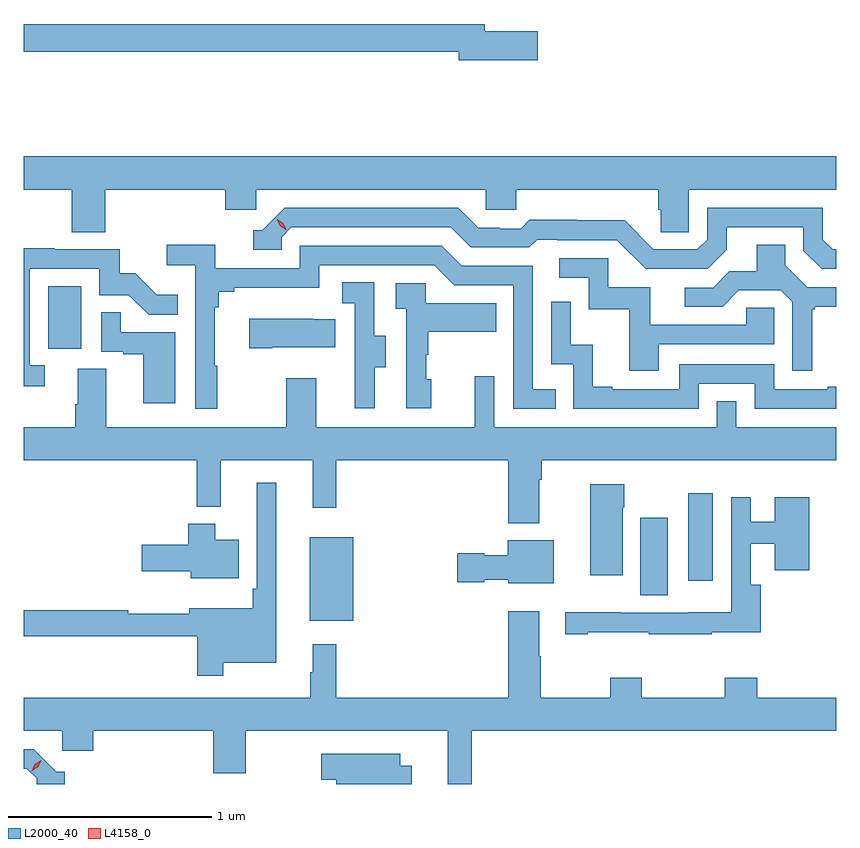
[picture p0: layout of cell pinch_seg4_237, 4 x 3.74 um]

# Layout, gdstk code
import gdstk
lib = gdstk.Library(unit=1e-6, precision=1e-09)
def R(c, l, rs):  # rectangles x0, y0, x1, y1
    for r in rs: c.add(gdstk.rectangle(r[:2], r[2:], *l))
def P(c, l, *ps):  # polygons
    for p in ps: c.add(gdstk.Polygon(p, *l))
L2000_40 = (2000, 40)
L4158_0 = (4158, 0)

pinch_seg4_237 = lib.new_cell('pinch_seg4_237')
R(pinch_seg4_237, L2000_40, [(912.527,826.667,912.742,827.077), (914.156,826.792,914.29,827.173), (914.39,826.863,914.512,827.293), (911.24,828.006,911.404,828.313)])
P(pinch_seg4_237, L2000_40, [(913.651,829.568),(913.39,829.568),(913.39,829.604),(911.12,829.604),(911.12,829.468),(913.262,829.468),(913.262,829.426),(913.651,829.426)],
  [(911.522,828.788),(912.113,828.788),(912.113,828.69),(912.264,828.69),(912.264,828.788),(913.395,828.788),(913.395,828.69),(913.545,828.69),(913.545,828.788),(914.243,828.788),(914.243,828.69),(914.257,828.69),(914.257,828.58),(914.394,828.58),(914.394,828.788),(915.12,828.788),(915.12,828.952),(911.12,828.952),(911.12,828.788),(911.357,828.788),(911.357,828.58),(911.522,828.58)],
  [(914.581,828.493),(914.581,828.603),(914.958,828.603),(914.958,828.489),(915.048,828.399),(915.12,828.399),(915.12,828.495),(915.102,828.495),(915.054,828.543),(915.054,828.699),(914.484,828.699),(914.484,828.543),(914.436,828.495),(914.22,828.495),(914.078,828.637),(913.842,828.637),(913.842,828.64),(913.609,828.64),(913.567,828.597),(913.464,828.597),(913.464,828.6),(913.357,828.6),(913.258,828.699),(912.405,828.699),(912.294,828.588),(912.251,828.588),(912.251,828.492),(912.39,828.492),(912.39,828.555),(912.438,828.603),(913.221,828.603),(913.32,828.504),(913.609,828.504),(913.648,828.543),(913.747,828.543),(913.747,828.54),(914.04,828.54),(914.181,828.399),(914.487,828.399)],
  [(912.073,827.921),(912.061,827.921),(912.061,828.209),(912.08,828.209),(912.08,828.286),(912.157,828.286),(912.157,828.305),(912.576,828.305),(912.576,828.417),(913.14,828.417),(913.239,828.318),(913.53,828.318),(913.53,827.709),(913.739,827.709),(913.739,827.805),(913.626,827.805),(913.626,828.414),(913.276,828.414),(913.177,828.513),(912.48,828.513),(912.48,828.402),(912.062,828.402),(912.062,828.518),(911.823,828.518),(911.823,828.416),(911.964,828.416),(911.964,827.709),(912.073,827.709)],
  [(915.001,828.201),(915.013,828.201),(915.013,828.212),(915.12,828.212),(915.12,828.309),(914.976,828.309),(914.869,828.416),(914.869,828.518),(914.729,828.518),(914.729,828.386),(914.594,828.386),(914.514,828.306),(914.373,828.306),(914.373,828.213),(914.56,828.213),(914.641,828.294),(914.847,828.294),(914.904,828.237),(914.904,827.898),(915.001,827.898)],
  [(911.224,827.925),(911.151,827.925),(911.151,828.399),(911.493,828.399),(911.493,828.27),(911.637,828.27),(911.735,828.172),(911.879,828.172),(911.879,828.271),(911.775,828.271),(911.668,828.378),(911.592,828.378),(911.592,828.495),(911.273,828.495),(911.273,828.5),(911.12,828.5),(911.12,827.82),(911.224,827.82)],
  [(914.245,828.027),(914.814,828.027),(914.814,828.207),(914.677,828.207),(914.677,828.123),(914.203,828.123),(914.203,828.309),(913.998,828.309),(913.998,828.45),(913.755,828.45),(913.755,828.354),(913.902,828.354),(913.902,828.201),(914.101,828.201),(914.101,827.898),(914.245,827.898)],
  [(912.847,827.914),(912.901,827.914),(912.901,828.069),(912.846,828.069),(912.846,828.332),(912.687,828.332),(912.687,828.229),(912.75,828.229),(912.75,827.925),(912.749,827.925),(912.749,827.712),(912.847,827.712)],
  [(913.126,827.856),(913.101,827.856),(913.101,827.975),(913.111,827.975),(913.111,828.089),(913.445,828.089),(913.445,828.229),(913.098,828.229),(913.098,828.327),(912.951,828.327),(912.951,828.203),(913.002,828.203),(913.002,827.712),(913.126,827.712)],
  [(914.442,827.832),(914.718,827.832),(914.718,827.709),(915.12,827.709),(915.12,827.818),(915.077,827.818),(915.077,827.805),(914.814,827.805),(914.814,827.928),(914.346,827.928),(914.346,827.805),(914.017,827.805),(914.017,827.818),(913.922,827.818),(913.922,828.026),(913.812,828.026),(913.812,828.238),(913.716,828.238),(913.716,827.928),(913.824,827.928),(913.824,827.709),(914.442,827.709)],
  [(911.866,828.087),(911.597,828.087),(911.597,828.185),(911.502,828.185),(911.502,827.991),(911.609,827.991),(911.609,827.979),(911.708,827.979),(911.708,827.736),(911.866,827.736)],
  [(912.343,828.014),(912.653,828.014),(912.653,828.151),(912.545,828.151),(912.545,828.154),(912.231,828.154),(912.231,828.007),(912.343,828.007)],
  [(913.657,827.36),(913.67,827.36),(913.67,827.456),(915.12,827.456),(915.12,827.62),(914.628,827.62),(914.628,827.747),(914.532,827.747),(914.532,827.62),(913.437,827.62),(913.437,827.869),(913.34,827.869),(913.34,827.62),(912.559,827.62),(912.559,827.86),(912.412,827.86),(912.412,827.62),(911.527,827.62),(911.527,827.906),(911.387,827.906),(911.387,827.732),(911.375,827.732),(911.375,827.62),(911.12,827.62),(911.12,827.456),(911.971,827.456),(911.971,827.228),(912.089,827.228),(912.089,827.456),(912.542,827.456),(912.542,827.223),(912.659,827.223),(912.659,827.456),(913.505,827.456),(913.505,827.147),(913.657,827.147)],
  [(912.103,826.46),(912.364,826.46),(912.364,827.347),(912.267,827.347),(912.267,826.825),(912.247,826.825),(912.247,826.729),(911.934,826.729),(911.934,826.7),(911.634,826.7),(911.634,826.718),(911.12,826.718),(911.12,826.59),(911.974,826.59),(911.974,826.395),(912.103,826.395)],
  [(914.068,827.225),(914.076,827.225),(914.076,827.338),(913.91,827.338),(913.91,826.89),(914.068,826.89)],
  [(913.897,826.609),(914.197,826.609),(914.197,826.599),(914.507,826.599),(914.507,826.609),(914.747,826.609),(914.747,826.843),(914.7,826.843),(914.7,827.045),(914.816,827.045),(914.816,826.914),(914.987,826.914),(914.987,827.275),(914.816,827.275),(914.816,827.155),(914.7,827.155),(914.7,827.275),(914.604,827.275),(914.604,826.708),(914.394,826.708),(914.394,826.707),(914.06,826.707),(914.06,826.709),(913.785,826.709),(913.785,826.599),(913.897,826.599)],
  [(912.178,827.065),(912.064,827.065),(912.064,827.143),(911.93,827.143),(911.93,827.04),(911.7,827.04),(911.7,826.91),(911.942,826.91),(911.942,826.877),(912.178,826.877)],
  [(913.729,827.062),(913.502,827.062),(913.502,826.99),(913.386,826.99),(913.386,826.998),(913.254,826.998),(913.254,826.856),(913.386,826.856),(913.386,826.868),(913.506,826.868),(913.506,826.85),(913.729,826.85)],
  [(913.325,826.124),(915.12,826.124),(915.12,826.288),(914.732,826.288),(914.732,826.387),(914.572,826.387),(914.572,826.288),(914.163,826.288),(914.163,826.387),(914.008,826.387),(914.008,826.288),(913.665,826.288),(913.665,826.493),(913.657,826.493),(913.657,826.714),(913.505,826.714),(913.505,826.288),(912.659,826.288),(912.659,826.552),(912.542,826.552),(912.542,826.412),(912.531,826.412),(912.531,826.288),(911.12,826.288),(911.12,826.124),(911.31,826.124),(911.31,826.026),(911.462,826.026),(911.462,826.124),(912.053,826.124),(912.053,825.916),(912.213,825.916),(912.213,826.124),(913.207,826.124),(913.207,825.863),(913.325,825.863)],
  [(911.323,825.924),(911.28,825.924),(911.169,826.035),(911.12,826.035),(911.12,825.939),(911.136,825.939),(911.184,825.891),(911.184,825.863),(911.323,825.863)],
  [(913.03,825.952),(912.973,825.952),(912.973,826.012),(912.585,826.012),(912.585,825.883),(912.659,825.883),(912.659,825.863),(913.03,825.863)])
P(pinch_seg4_237, L4158_0, [(912.414,828.589),(912.383,828.609),(912.367,828.641),(912.367,828.642),(912.367,828.642),(912.398,828.622),(912.414,828.589),(912.414,828.589)],
  [(911.159,825.925),(911.159,825.926),(911.175,825.959),(911.206,825.979),(911.206,825.979),(911.206,825.978),(911.19,825.945),(911.159,825.925)])

lib.write_gds('pinch_seg4_237.gds')
